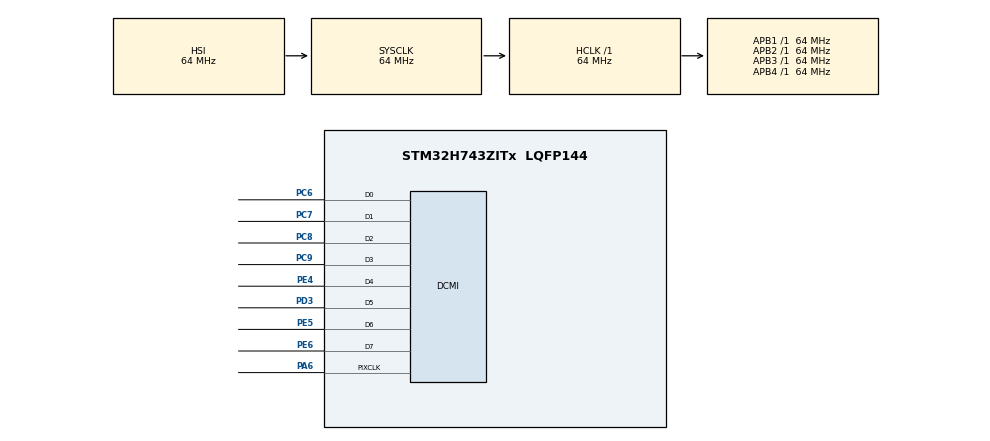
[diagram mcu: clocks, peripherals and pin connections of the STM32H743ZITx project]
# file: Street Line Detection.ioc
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DCMI.JPEGMode=DCMI_JPEG_DISABLE
Dma.DCMI.0.Direction=DMA_PERIPH_TO_MEMORY
Dma.DCMI.0.EventEnable=DISABLE
Dma.DCMI.0.FIFOMode=DMA_FIFOMODE_ENABLE
Dma.DCMI.0.FIFOThreshold=DMA_FIFO_THRESHOLD_FULL
Dma.DCMI.0.Instance=DMA1_Stream0
Dma.DCMI.0.MemBurst=DMA_MBURST_SINGLE
Dma.DCMI.0.MemDataAlignment=DMA_MDATAALIGN_WORD
Dma.DCMI.0.MemInc=DMA_MINC_ENABLE
Dma.DCMI.0.Mode=DMA_CIRCULAR
Dma.DCMI.0.PeriphBurst=DMA_PBURST_SINGLE
Dma.DCMI.0.PeriphDataAlignment=DMA_PDATAALIGN_WORD
Dma.DCMI.0.PeriphInc=DMA_PINC_DISABLE
Dma.DCMI.0.Polarity=HAL_DMAMUX_REQ_GEN_RISING
Dma.DCMI.0.Priority=DMA_PRIORITY_LOW
Dma.DCMI.0.RequestNumber=1
Dma.DCMI.0.SignalID=NONE
Dma.DCMI.0.SyncEnable=DISABLE
Dma.DCMI.0.SyncPolarity=HAL_DMAMUX_SYNC_NO_EVENT
Dma.DCMI.0.SyncRequestNumber=1
Dma.DCMI.0.SyncSignalID=NONE
Dma.Request0=DCMI
Mcu.Family=STM32H7
Mcu.Name=STM32H743ZITx
Mcu.Package=LQFP144
NVIC.DMA1_Stream0_IRQn=true\:0\:0\:false\:false\:true\:false\:true\:true
NVIC.PriorityGroup=NVIC_PRIORITYGROUP_4
PA6.Mode=Slave_8_bits_Embedded_Synchro
PA6.Signal=DCMI_PIXCLK
PC6.Mode=Slave_8_bits_Embedded_Synchro
PC6.Signal=DCMI_D0
PC7.Mode=Slave_8_bits_Embedded_Synchro
PC7.Signal=DCMI_D1
PC8.Mode=Slave_8_bits_Embedded_Synchro
PC8.Signal=DCMI_D2
PC9.Mode=Slave_8_bits_Embedded_Synchro
PC9.Signal=DCMI_D3
PD3.Mode=Slave_8_bits_Embedded_Synchro
PD3.Signal=DCMI_D5
PE4.Mode=Slave_8_bits_Embedded_Synchro
PE4.Signal=DCMI_D4
PE5.Mode=Slave_8_bits_Embedded_Synchro
PE5.Signal=DCMI_D6
PE6.Mode=Slave_8_bits_Embedded_Synchro
PE6.Signal=DCMI_D7
ProjectManager.HeapSize=0x200
ProjectManager.StackSize=0x400
ProjectManager.TargetToolchain=STM32CubeIDE
RCC.ADCFreq_Value=129000000
RCC.APB1Freq_Value=64000000
RCC.APB2Freq_Value=64000000
RCC.APB3Freq_Value=64000000
RCC.APB4Freq_Value=64000000
RCC.CortexFreq_Value=64000000
RCC.HCLKFreq_Value=64000000
RCC.SYSCLKFreq_VALUE=64000000
RCC.USBFreq_Value=129000000
board=custom

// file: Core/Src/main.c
/* USER CODE BEGIN Header */
/**
  ******************************************************************************
  * @file           : main.c
  * @brief          : Main program body
  ******************************************************************************
  * @attention
  *
  * Copyright (c) 2022 STMicroelectronics.
  * All rights reserved.
  *
  * This software is licensed under terms that can be found in the LICENSE file
  * in the root directory of this software component.
  * If no LICENSE file comes with this software, it is provided AS-IS.
  *
  ******************************************************************************
  */
/* USER CODE END Header */
#include "main.h"

/* USER CODE BEGIN PD */
#define CAMERA_WIDTH  640  // Camera image width (pixels)
#define CAMERA_HEIGHT 480  // Camera image height (pixels)
/* USER CODE END PD */

DCMI_HandleTypeDef hdcmi;
DMA_HandleTypeDef hdma_dcmi;

// Buffer to store the captured image data
uint8_t image_buffer[CAMERA_WIDTH * CAMERA_HEIGHT];

void SystemClock_Config(void);
static void MX_GPIO_Init(void);
static void MX_DCMI_Init(void);
static void MX_DMA_Init(void);

int main(void)
{
  /* USER CODE BEGIN 1 */
  // Enable the clock signals for the DCMI and DMA peripherals
	__HAL_RCC_DCMI_CLK_ENABLE();
	__HAL_RCC_DMA2_CLK_ENABLE();

	// Configure the DMA peripheral to transfer image data from the DCMI to the image buffer
	DMA_HandleTypeDef dma_handle;
	dma_handle.Instance = DMA2_Stream1;
	dma_handle.Init.Request = DMA_REQUEST_DCMI;
	dma_handle.Init.Direction = DMA_PERIPH_TO_MEMORY;
	dma_handle.Init.PeriphInc = DMA_PINC_DISABLE;
	dma_handle.Init.MemInc = DMA_MINC_ENABLE;
	dma_handle.Init.PeriphDataAlignment = DMA_PDATAALIGN_BYTE;
	dma_handle.Init.MemDataAlignment = DMA_MDATAALIGN_BYTE;
	dma_handle.Init.Mode = DMA_NORMAL;
	dma_handle.Init.Priority = DMA_PRIORITY_HIGH;
	dma_handle.Init.FIFOMode = DMA_FIFOMODE_DISABLE;
	HAL_DMA_Init(&dma_handle);
	__HAL_LINKDMA(&hdcmi, DMA_Handle, dma_handle);

	void DMA2_Stream1_IRQHandler(void)
	{
	  HAL_DMA_IRQHandler(&dma_handle);
	}

	// Configure the DCMI peripheral to capture image data from the camera module
	DCMI_HandleTypeDef dcmi_handle;
	dcmi_handle.Instance = DCMI;
	dcmi_handle.Init.CaptureRate = DCMI_CR_ALL_FRAME;
	dcmi_handle.Init.HSPolarity = DCMI_HSPOLARITY_HIGH;
	dcmi_handle.Init.VSPolarity = DCMI_VSPOLARITY_HIGH;
	dcmi_handle.Init.SynchroMode = DCMI_SYNCHRO_HARDWARE;
	dcmi_handle.Init.PCKPolarity = DCMI_PCKPOLARITY_RISING;
	dcmi_handle.Init.ExtendedDataMode = DCMI_EXTEND_DATA_8B;
	dcmi_handle.Init.SyncroCode.FrameStartCode = 0xA5;
	dcmi_handle.Init.SyncroCode.LineStartCode = 0x01;
	dcmi_handle.Init.SyncroCode.LineEndCode = 0xFE;
	dcmi_handle.Init.SyncroCode.FrameEndCode = 0x5A;
	HAL_DCMI_Init(&dcmi_handle);

	// Configure the VS (vertical synchronization) pin as an input
	GPIO_InitTypeDef gpio_init;
	gpio_init.Pin = GPIO_PIN_9;
	gpio_init.Mode = GPIO_MODE_INPUT;
	gpio_init.Pull = GPIO_NOPULL;
	gpio_init.Speed = GPIO_SPEED_FREQ_VERY_HIGH;
	HAL_GPIO_Init(GPIOG, &gpio_init);

	// Configure the HS (horizontal synchronization) pin as an input
	gpio_init.Pin = GPIO_PIN_4;
	HAL_GPIO_Init(GPIOA, &gpio_init);

	// Configure the PCLK (pixel clock) pin as an input
	gpio_init.Pin = GPIO_PIN_6;
	HAL_GPIO_Init(GPIOA, &gpio_init);

	// Configure the D0-D7 (data) pins as inputs
	gpio_init.Pin = GPIO_PIN_6 | GPIO_PIN_7 | GPIO_PIN_8 | GPIO_PIN_9;
	HAL_GPIO_Init(GPIOC, &gpio_init);
	gpio_init.Pin = GPIO_PIN_4 | GPIO_PIN_5 | GPIO_PIN_6;
	HAL_GPIO_Init(GPIOE, &gpio_init);
	gpio_init.Pin = GPIO_PIN_3;
	HAL_GPIO_Init(GPIOD, &gpio_init);

	// Enable the DMA transfer complete interrupt
	HAL_NVIC_SetPriority(DMA2_Stream1_IRQn, 0, 0);
	HAL_NVIC_EnableIRQ(DMA2_Stream1_IRQn);

	// Start the DMA transfer
	HAL_DMA_Start_IT(&dma_handle, (uint32_t)&DCMI->DR, (uint32_t)image_buffer, CAMERA_WIDTH * CAMERA_HEIGHT);

	// Start the image capture
	HAL_DCMI_Start_DMA(&dcmi_handle, DCMI_MODE_SNAPSHOT, (uint32_t)image_buffer, CAMERA_WIDTH * CAMERA_HEIGHT);
  /* USER CODE END 1 */

  /* MCU Configuration--------------------------------------------------------*/

  /* Reset of all peripherals, Initializes the Flash interface and the Systick. */
  HAL_Init();

  /* Configure the system clock */
  SystemClock_Config();

  /* Initialize all configured peripherals */
  MX_GPIO_Init();
  MX_DCMI_Init();
  MX_DMA_Init();

  /* Infinite loop */
  while (1)
  {

  }
}

void SystemClock_Config(void)
{
  RCC_OscInitTypeDef RCC_OscInitStruct = {0};
  RCC_ClkInitTypeDef RCC_ClkInitStruct = {0};

  /** Supply configuration update enable
  */
  HAL_PWREx_ConfigSupply(PWR_LDO_SUPPLY);

  /** Configure the main internal regulator output voltage
  */
  __HAL_PWR_VOLTAGESCALING_CONFIG(PWR_REGULATOR_VOLTAGE_SCALE3);

  while(!__HAL_PWR_GET_FLAG(PWR_FLAG_VOSRDY)) {}

  /** Initializes the RCC Oscillators according to the specified parameters
  * in the RCC_OscInitTypeDef structure.
  */
  RCC_OscInitStruct.OscillatorType = RCC_OSCILLATORTYPE_HSI;
  RCC_OscInitStruct.HSIState = RCC_HSI_DIV1;
  RCC_OscInitStruct.HSICalibrationValue = RCC_HSICALIBRATION_DEFAULT;
  RCC_OscInitStruct.PLL.PLLState = RCC_PLL_NONE;
  if (HAL_RCC_OscConfig(&RCC_OscInitStruct) != HAL_OK)
  {
    Error_Handler();
  }

  /** Initializes the CPU, AHB and APB buses clocks
  */
  RCC_ClkInitStruct.ClockType = RCC_CLOCKTYPE_HCLK|RCC_CLOCKTYPE_SYSCLK
                              |RCC_CLOCKTYPE_PCLK1|RCC_CLOCKTYPE_PCLK2
                              |RCC_CLOCKTYPE_D3PCLK1|RCC_CLOCKTYPE_D1PCLK1;
  RCC_ClkInitStruct.SYSCLKSource = RCC_SYSCLKSOURCE_HSI;
  RCC_ClkInitStruct.SYSCLKDivider = RCC_SYSCLK_DIV1;
  RCC_ClkInitStruct.AHBCLKDivider = RCC_HCLK_DIV1;
  RCC_ClkInitStruct.APB3CLKDivider = RCC_APB3_DIV1;
  RCC_ClkInitStruct.APB1CLKDivider = RCC_APB1_DIV1;
  RCC_ClkInitStruct.APB2CLKDivider = RCC_APB2_DIV1;
  RCC_ClkInitStruct.APB4CLKDivider = RCC_APB4_DIV1;

  if (HAL_RCC_ClockConfig(&RCC_ClkInitStruct, FLASH_LATENCY_1) != HAL_OK)
  {
    Error_Handler();
  }
}

static void MX_DCMI_Init(void)
{

  hdcmi.Instance = DCMI;
  hdcmi.Init.SynchroMode = DCMI_SYNCHRO_EMBEDDED;
  hdcmi.Init.PCKPolarity = DCMI_PCKPOLARITY_FALLING;
  hdcmi.Init.CaptureRate = DCMI_CR_ALL_FRAME;
  hdcmi.Init.ExtendedDataMode = DCMI_EXTEND_DATA_8B;
  hdcmi.Init.SyncroCode.FrameEndCode = 0;
  hdcmi.Init.SyncroCode.FrameStartCode = 0;
  hdcmi.Init.SyncroCode.LineStartCode = 0;
  hdcmi.Init.SyncroCode.LineEndCode = 0;
  hdcmi.Init.JPEGMode = DCMI_JPEG_DISABLE;
  hdcmi.Init.ByteSelectMode = DCMI_BSM_ALL;
  hdcmi.Init.ByteSelectStart = DCMI_OEBS_ODD;
  hdcmi.Init.LineSelectMode = DCMI_LSM_ALL;
  hdcmi.Init.LineSelectStart = DCMI_OELS_ODD;
  if (HAL_DCMI_Init(&hdcmi) != HAL_OK)
  {
    Error_Handler();
  }

}

static void MX_DMA_Init(void)
{

  /* DMA controller clock enable */
  __HAL_RCC_DMA1_CLK_ENABLE();

  /* DMA interrupt init */
  /* DMA1_Stream0_IRQn interrupt configuration */
  HAL_NVIC_SetPriority(DMA1_Stream0_IRQn, 0, 0);
  HAL_NVIC_EnableIRQ(DMA1_Stream0_IRQn);

}

static void MX_GPIO_Init(void)
{

  /* GPIO Ports Clock Enable */
  __HAL_RCC_GPIOE_CLK_ENABLE();
  __HAL_RCC_GPIOA_CLK_ENABLE();
  __HAL_RCC_GPIOC_CLK_ENABLE();
  __HAL_RCC_GPIOD_CLK_ENABLE();

}

void Error_Handler(void)
{
  __disable_irq();
  while (1)
  {
  }
}
